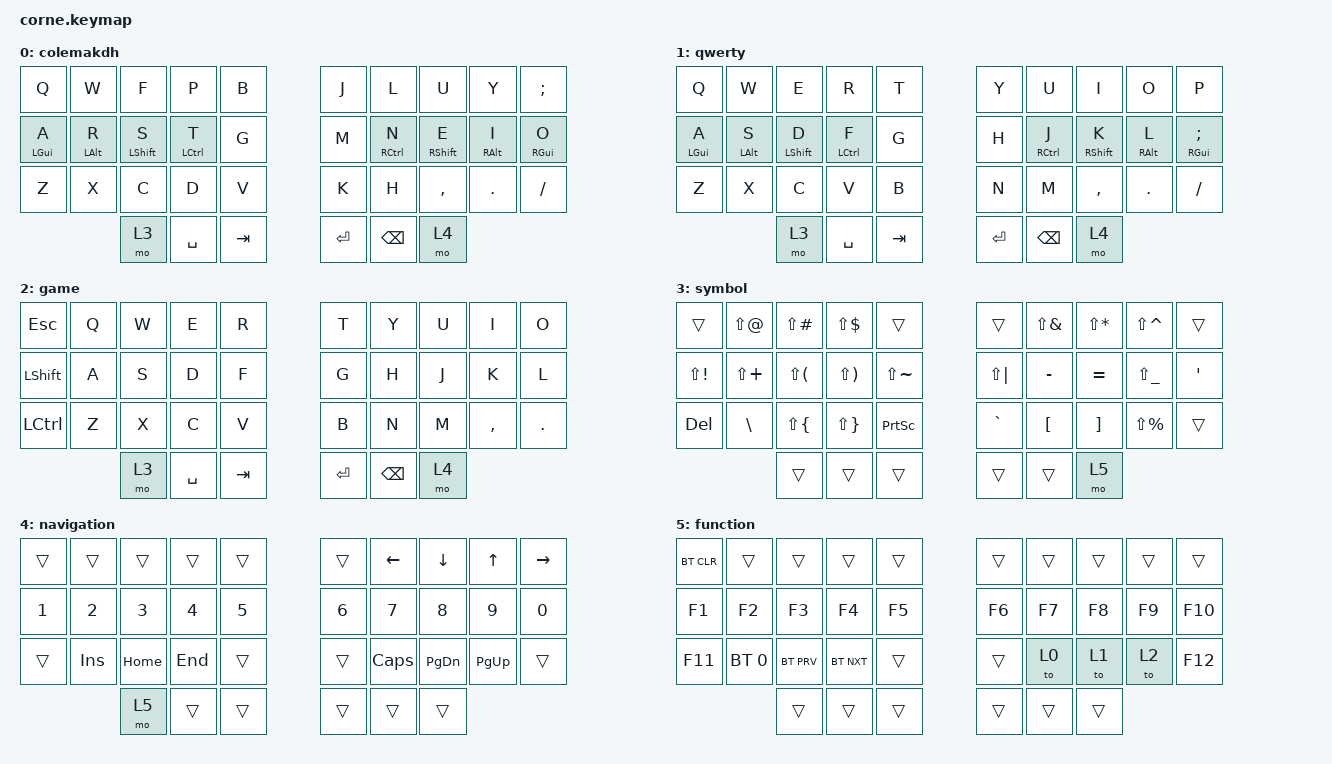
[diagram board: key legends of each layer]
/*
 * Copyright (c) 2020 The ZMK Contributors
 *
 * SPDX-License-Identifier: MIT
 */

#include <behaviors.dtsi>
#include <dt-bindings/zmk/bt.h>
#include <dt-bindings/zmk/keys.h>

&mt {
    tapping-term-ms = <175>;
    flavor = "tap-preferred";
};

/ {
    chosen {
        zmk,physical-layout = &foostan_corne_5col_layout;
        zmk,matrix_transform = &five_column_transform;
    };

    combos {
        compatible = "zmk,combos";

        escape {
            bindings = <&kp ESCAPE>;
            key-positions = <0 31>;
            layers = <0 1>;
        };
    };

    keymap {
        compatible = "zmk,keymap";

        colemakdh {
            bindings = <
  &kp Q           &kp W           &kp F             &kp P               &kp B      &kp J    &kp L                &kp U              &kp Y            &kp SEMICOLON
  &mt LEFT_GUI A  &mt LEFT_ALT R  &mt LEFT_SHIFT S  &mt LEFT_CONTROL T  &kp G      &kp M    &mt RIGHT_CONTROL N  &mt RIGHT_SHIFT E  &mt RIGHT_ALT I  &mt RIGHT_GUI O
  &kp Z           &kp X           &kp C             &kp D               &kp V      &kp K    &kp H                &kp COMMA          &kp DOT          &kp FSLH
                                  &mo 3             &kp SPACE           &kp TAB    &kp RET  &kp BACKSPACE        &mo 4
            >;
        };

        qwerty {
            bindings = <
  &kp Q           &kp W           &kp E             &kp R               &kp T      &kp Y      &kp U                &kp I              &kp O            &kp P
  &mt LEFT_GUI A  &mt LEFT_ALT S  &mt LEFT_SHIFT D  &mt LEFT_CONTROL F  &kp G      &kp H      &mt RIGHT_CONTROL J  &mt RIGHT_SHIFT K  &mt RIGHT_ALT L  &mt RIGHT_GUI SEMICOLON
  &kp Z           &kp X           &kp C             &kp V               &kp B      &kp N      &kp M                &kp COMMA          &kp DOT          &kp FSLH
                                  &mo 3             &kp SPACE           &kp TAB    &kp ENTER  &kp BACKSPACE        &mo 4
            >;
        };

        game {
            bindings = <
  &kp ESCAPE      &kp Q  &kp W  &kp E      &kp R      &kp T      &kp Y          &kp U  &kp I      &kp O
  &kp LEFT_SHIFT  &kp A  &kp S  &kp D      &kp F      &kp G      &kp H          &kp J  &kp K      &kp L
  &kp LCTRL       &kp Z  &kp X  &kp C      &kp V      &kp B      &kp N          &kp M  &kp COMMA  &kp PERIOD
                         &mo 3  &kp SPACE  &kp TAB    &kp ENTER  &kp BACKSPACE  &mo 4
            >;
        };

        symbol {
            bindings = <
  &trans        &kp LS(AT)    &kp LS(POUND)  &kp LS(DLLR)  &trans             &trans        &kp LS(AMPS)  &kp LS(STAR)  &kp LS(CARET)  &trans
  &kp LS(EXCL)  &kp LS(PLUS)  &kp LS(LPAR)   &kp LS(RPAR)  &kp LS(TILDE)      &kp LS(PIPE)  &kp MINUS     &kp EQUAL     &kp LS(UNDER)  &kp SQT
  &kp DEL       &kp BSLH      &kp LS(LBRC)   &kp LS(RBRC)  &kp PRINTSCREEN    &kp GRAVE     &kp LBKT      &kp RBKT      &kp LS(PRCNT)  &trans
                              &trans         &trans        &trans             &trans        &trans        &mo 5
            >;
        };

        navigation {
            bindings = <
  &trans  &trans      &trans    &trans   &trans    &trans  &kp LEFT_ARROW  &kp DOWN_ARROW  &kp UP_ARROW  &kp RIGHT_ARROW
  &kp N1  &kp N2      &kp N3    &kp N4   &kp N5    &kp N6  &kp N7          &kp N8          &kp N9        &kp N0
  &trans  &kp INSERT  &kp HOME  &kp END  &trans    &trans  &kp CAPSLOCK    &kp PAGE_DOWN   &kp PG_UP     &trans
                      &mo 5     &trans   &trans    &trans  &trans          &trans
            >;
        };

        function {
            bindings = <
  &bt BT_CLR  &trans        &trans      &trans      &trans    &trans  &trans  &trans  &trans  &trans
  &kp F1      &kp F2        &kp F3      &kp F4      &kp F5    &kp F6  &kp F7  &kp F8  &kp F9  &kp F10
  &kp F11     &bt BT_SEL 0  &bt BT_PRV  &bt BT_NXT  &trans    &trans  &to 0   &to 1   &to 2   &kp F12
                            &trans      &trans      &trans    &trans  &trans  &trans
            >;
        };
    };
};
